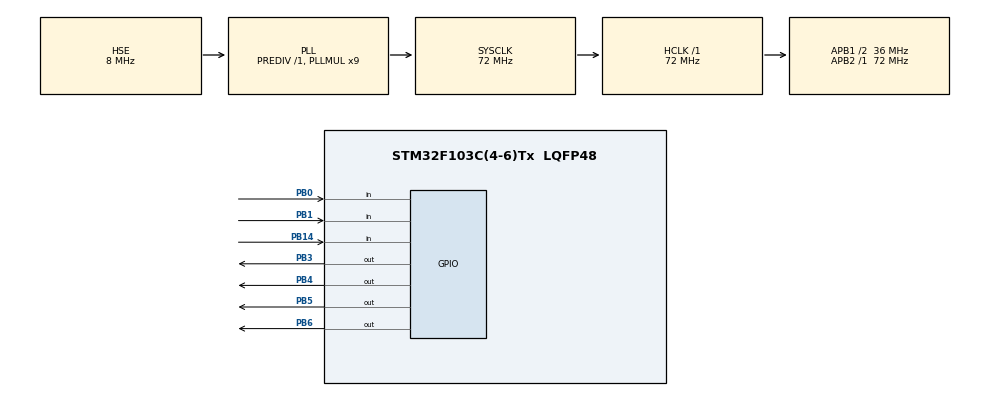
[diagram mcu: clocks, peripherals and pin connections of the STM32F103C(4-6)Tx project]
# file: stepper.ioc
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Mcu.Family=STM32F1
Mcu.Name=STM32F103C(4-6)Tx
Mcu.Package=LQFP48
NVIC.PriorityGroup=NVIC_PRIORITYGROUP_4
PA13.Mode=Serial_Wire
PA13.Signal=SYS_JTMS-SWDIO
PA14.Mode=Serial_Wire
PA14.Signal=SYS_JTCK-SWCLK
PB0.GPIO_PuPd=GPIO_PULLUP
PB0.Signal=GPIO_Input
PB1.GPIO_PuPd=GPIO_PULLUP
PB1.Signal=GPIO_Input
PB14.Signal=GPIO_Input
PB3.Signal=GPIO_Output
PB4.Signal=GPIO_Output
PB5.Signal=GPIO_Output
PB6.Signal=GPIO_Output
PD0-OSC_IN.Mode=HSE-External-Oscillator
PD0-OSC_IN.Signal=RCC_OSC_IN
PD1-OSC_OUT.Mode=HSE-External-Oscillator
PD1-OSC_OUT.Signal=RCC_OSC_OUT
ProjectManager.HeapSize=0x200
ProjectManager.StackSize=0x400
ProjectManager.TargetToolchain=STM32CubeIDE
RCC.AHBFreq_Value=72000000
RCC.APB1CLKDivider=RCC_HCLK_DIV2
RCC.APB1Freq_Value=36000000
RCC.APB1TimFreq_Value=72000000
RCC.APB2Freq_Value=72000000
RCC.APB2TimFreq_Value=72000000
RCC.HCLKFreq_Value=72000000
RCC.PLLMUL=RCC_PLL_MUL9
RCC.PLLSourceVirtual=RCC_PLLSOURCE_HSE
RCC.SYSCLKFreq_VALUE=72000000
RCC.SYSCLKSource=RCC_SYSCLKSOURCE_PLLCLK
RCC.USBFreq_Value=72000000
TIM1.Period=65535
TIM1.Prescaler=72
VP_TIM1_VS_ClockSourceINT.Mode=Internal
board=custom

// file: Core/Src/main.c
/* USER CODE BEGIN Header */
/**
  ******************************************************************************
  * @file           : main.c
  * @brief          : Main program body
  ******************************************************************************
  * @attention
  *
  * Copyright (c) 2022 STMicroelectronics.
  * All rights reserved.
  *
  * This software is licensed under terms that can be found in the LICENSE file
  * in the root directory of this software component.
  * If no LICENSE file comes with this software, it is provided AS-IS.
  *
  ******************************************************************************
  */
/* USER CODE END Header */
#include "main.h"

/* USER CODE BEGIN Includes */
#include "dwt_stm32_delay.h"
/* USER CODE END Includes */

TIM_HandleTypeDef htim1;

void SystemClock_Config(void);
static void MX_GPIO_Init(void);
static void MX_TIM1_Init(void);

/* USER CODE BEGIN 0 */
#define IN1_PIN GPIO_PIN_6
#define IN1_PORT GPIOB
#define IN2_PIN GPIO_PIN_5
#define IN2_PORT GPIOB
#define IN3_PIN GPIO_PIN_4
#define IN3_PORT GPIOB
#define IN4_PIN GPIO_PIN_3
#define IN4_PORT GPIOB

char fullDriveTable[4][4] = {{1, 1, 0, 0}, {0, 1, 1, 0}, {0, 0, 1, 1}, {1, 0, 0, 1}};

size_t tableSize = 4;

void stepFullDrive(int steps, uint16_t delay){
	for (int s = 0; s < steps; s++){
		for (int i = 0; i < tableSize; i++){
			HAL_GPIO_WritePin(IN1_PORT, IN1_PIN, fullDriveTable[i][0]);
			HAL_GPIO_WritePin(IN2_PORT, IN2_PIN, fullDriveTable[i][1]);
			HAL_GPIO_WritePin(IN3_PORT, IN3_PIN, fullDriveTable[i][2]);
			HAL_GPIO_WritePin(IN4_PORT, IN4_PIN, fullDriveTable[i][3]);
			DWT_Delay_us(delay);
		}
	}
}

void stepFullDriveReverse(int steps, uint16_t delay){
	for (int s = 0; s < steps; s++){
			for (int i = tableSize - 1; i >= 0; i--){
				HAL_GPIO_WritePin(IN1_PORT, IN1_PIN, fullDriveTable[i][0]);
				HAL_GPIO_WritePin(IN2_PORT, IN2_PIN, fullDriveTable[i][1]);
				HAL_GPIO_WritePin(IN3_PORT, IN3_PIN, fullDriveTable[i][2]);
				HAL_GPIO_WritePin(IN4_PORT, IN4_PIN, fullDriveTable[i][3]);
				DWT_Delay_us(delay);
			}
		}
}

uint8_t count = 0;

uint32_t receiveData(void){
	uint32_t code = 0;

	int timeout = 50000;

	__HAL_TIM_SET_COUNTER(&htim1, 0);

	// waiting for the HIGH signal
	while(!(HAL_GPIO_ReadPin(GPIOB, GPIO_PIN_14)) && __HAL_TIM_GET_COUNTER(&htim1) < timeout);

	__HAL_TIM_SET_COUNTER(&htim1, 0);

	// waiting for the LOW signal
	while(HAL_GPIO_ReadPin(GPIOB, GPIO_PIN_14) && __HAL_TIM_GET_COUNTER(&htim1) < timeout);

	// receiving the data,
	// 562.5us interval -> 0, 1.6ms interval -> 1
	for(int i = 0; i < 32; i++){
		count = 0;
		__HAL_TIM_SET_COUNTER(&htim1, 0);
		// waiting for the HIGH signal
		while(!(HAL_GPIO_ReadPin(GPIOB, GPIO_PIN_14)) && __HAL_TIM_GET_COUNTER(&htim1) < timeout);

		__HAL_TIM_SET_COUNTER(&htim1, 0);
		// count the interval
		while(HAL_GPIO_ReadPin(GPIOB, GPIO_PIN_14) && __HAL_TIM_GET_COUNTER(&htim1) < timeout){
			count++;
			DWT_Delay_us(100);
		}

		// check which bit should be assigned
		if(count > 12){
			// write 1
			code |= (1UL << (31-i));
		} else {
			//write 0
			code &= ~(1UL << (31-i));
		}
	}
	return code;
}

int checkForRepeat(int time){
	DWT_Delay_us(time);

	__HAL_TIM_SET_COUNTER(&htim1, 0);
	while (HAL_GPIO_ReadPin(GPIOB, GPIO_PIN_14)){
		if (__HAL_TIM_GET_COUNTER(&htim1) > time){
			return 0;
		}
	}
	__HAL_TIM_SET_COUNTER(&htim1, 0);
	while (!HAL_GPIO_ReadPin(GPIOB, GPIO_PIN_14)){
		if (__HAL_TIM_GET_COUNTER(&htim1) > 12000){
			return 0;
		}
	}
	__HAL_TIM_SET_COUNTER(&htim1, 0);
	while (HAL_GPIO_ReadPin(GPIOB, GPIO_PIN_14)){
		if (__HAL_TIM_GET_COUNTER(&htim1) > 3000){
			return 0;
		}
	}
	return 1;
}

int convertCode(uint32_t code){
	switch (code){
		case (0xFF30CF):
			return 1;
			break;

		case (0xFF18E7):
			return 2;
			break;

		default :
			return 0;
			break;
	}
}

/* USER CODE END 0 */

int main(void)
{

  /* MCU Configuration--------------------------------------------------------*/

  /* Reset of all peripherals, Initializes the Flash interface and the Systick. */
  HAL_Init();

  /* Configure the system clock */
  SystemClock_Config();

  /* Initialize all configured peripherals */
  MX_GPIO_Init();
  MX_TIM1_Init();
  /* USER CODE BEGIN 2 */

  HAL_TIM_Base_Start(&htim1);
  DWT_Delay_Init();
  /* USER CODE END 2 */

  /* Infinite loop */
  /* USER CODE BEGIN WHILE */
  int buttonCounterClockWise, buttonClockWise;
  uint32_t data;
  int convertedData = 0;
  int shouldRepeat;
  while (1)
  {

	// infra-red control logic
	if (!HAL_GPIO_ReadPin(GPIOB, GPIO_PIN_14)){
		data = receiveData();

		convertedData = convertCode(data);

		if (convertedData == 1){
			shouldRepeat = checkForRepeat(40000);
			while (shouldRepeat){
				stepFullDrive(5, 3000);
				shouldRepeat = checkForRepeat(30000);
			}

			convertedData = 0;
			HAL_Delay(100);
		}
		else if (convertedData == 2){
			shouldRepeat = checkForRepeat(40000);
			while (shouldRepeat){
				stepFullDriveReverse(5, 3000);
				shouldRepeat = checkForRepeat(30000);
			}
			convertedData = 0;
			HAL_Delay(100);
		}
	}

	// button control logic
	buttonCounterClockWise = HAL_GPIO_ReadPin(GPIOB, GPIO_PIN_0);
	buttonClockWise = HAL_GPIO_ReadPin(GPIOB, GPIO_PIN_1);

	while(!buttonCounterClockWise){
	  stepFullDrive(1, 3500);
	  buttonCounterClockWise = HAL_GPIO_ReadPin(GPIOB, GPIO_PIN_0);
	}

	while(!buttonClockWise){
		stepFullDriveReverse(1, 3500);
		buttonClockWise = HAL_GPIO_ReadPin(GPIOB, GPIO_PIN_1);
	}

  }
    /* USER CODE END WHILE */

}

void SystemClock_Config(void)
{
  RCC_OscInitTypeDef RCC_OscInitStruct = {0};
  RCC_ClkInitTypeDef RCC_ClkInitStruct = {0};

  /** Initializes the RCC Oscillators according to the specified parameters
  * in the RCC_OscInitTypeDef structure.
  */
  RCC_OscInitStruct.OscillatorType = RCC_OSCILLATORTYPE_HSE;
  RCC_OscInitStruct.HSEState = RCC_HSE_ON;
  RCC_OscInitStruct.HSEPredivValue = RCC_HSE_PREDIV_DIV1;
  RCC_OscInitStruct.HSIState = RCC_HSI_ON;
  RCC_OscInitStruct.PLL.PLLState = RCC_PLL_ON;
  RCC_OscInitStruct.PLL.PLLSource = RCC_PLLSOURCE_HSE;
  RCC_OscInitStruct.PLL.PLLMUL = RCC_PLL_MUL9;
  if (HAL_RCC_OscConfig(&RCC_OscInitStruct) != HAL_OK)
  {
    Error_Handler();
  }
  /** Initializes the CPU, AHB and APB buses clocks
  */
  RCC_ClkInitStruct.ClockType = RCC_CLOCKTYPE_HCLK|RCC_CLOCKTYPE_SYSCLK
                              |RCC_CLOCKTYPE_PCLK1|RCC_CLOCKTYPE_PCLK2;
  RCC_ClkInitStruct.SYSCLKSource = RCC_SYSCLKSOURCE_PLLCLK;
  RCC_ClkInitStruct.AHBCLKDivider = RCC_SYSCLK_DIV1;
  RCC_ClkInitStruct.APB1CLKDivider = RCC_HCLK_DIV2;
  RCC_ClkInitStruct.APB2CLKDivider = RCC_HCLK_DIV1;

  if (HAL_RCC_ClockConfig(&RCC_ClkInitStruct, FLASH_LATENCY_2) != HAL_OK)
  {
    Error_Handler();
  }
}

static void MX_TIM1_Init(void)
{

  TIM_ClockConfigTypeDef sClockSourceConfig = {0};
  TIM_MasterConfigTypeDef sMasterConfig = {0};

  htim1.Instance = TIM1;
  htim1.Init.Prescaler = 72;
  htim1.Init.CounterMode = TIM_COUNTERMODE_UP;
  htim1.Init.Period = 65535;
  htim1.Init.ClockDivision = TIM_CLOCKDIVISION_DIV1;
  htim1.Init.RepetitionCounter = 0;
  htim1.Init.AutoReloadPreload = TIM_AUTORELOAD_PRELOAD_DISABLE;
  if (HAL_TIM_Base_Init(&htim1) != HAL_OK)
  {
    Error_Handler();
  }
  sClockSourceConfig.ClockSource = TIM_CLOCKSOURCE_INTERNAL;
  if (HAL_TIM_ConfigClockSource(&htim1, &sClockSourceConfig) != HAL_OK)
  {
    Error_Handler();
  }
  sMasterConfig.MasterOutputTrigger = TIM_TRGO_RESET;
  sMasterConfig.MasterSlaveMode = TIM_MASTERSLAVEMODE_DISABLE;
  if (HAL_TIMEx_MasterConfigSynchronization(&htim1, &sMasterConfig) != HAL_OK)
  {
    Error_Handler();
  }

}

static void MX_GPIO_Init(void)
{
  GPIO_InitTypeDef GPIO_InitStruct = {0};

  /* GPIO Ports Clock Enable */
  __HAL_RCC_GPIOD_CLK_ENABLE();
  __HAL_RCC_GPIOB_CLK_ENABLE();
  __HAL_RCC_GPIOA_CLK_ENABLE();

  /*Configure GPIO pin Output Level */
  HAL_GPIO_WritePin(GPIOB, GPIO_PIN_3|GPIO_PIN_4|GPIO_PIN_5|GPIO_PIN_6, GPIO_PIN_RESET);

  /*Configure GPIO pins : PB0 PB1 */
  GPIO_InitStruct.Pin = GPIO_PIN_0|GPIO_PIN_1;
  GPIO_InitStruct.Mode = GPIO_MODE_INPUT;
  GPIO_InitStruct.Pull = GPIO_PULLUP;
  HAL_GPIO_Init(GPIOB, &GPIO_InitStruct);

  /*Configure GPIO pin : PB14 */
  GPIO_InitStruct.Pin = GPIO_PIN_14;
  GPIO_InitStruct.Mode = GPIO_MODE_INPUT;
  GPIO_InitStruct.Pull = GPIO_NOPULL;
  HAL_GPIO_Init(GPIOB, &GPIO_InitStruct);

  /*Configure GPIO pins : PB3 PB4 PB5 PB6 */
  GPIO_InitStruct.Pin = GPIO_PIN_3|GPIO_PIN_4|GPIO_PIN_5|GPIO_PIN_6;
  GPIO_InitStruct.Mode = GPIO_MODE_OUTPUT_PP;
  GPIO_InitStruct.Pull = GPIO_NOPULL;
  GPIO_InitStruct.Speed = GPIO_SPEED_FREQ_LOW;
  HAL_GPIO_Init(GPIOB, &GPIO_InitStruct);

}

void Error_Handler(void)
{
  __disable_irq();
  while (1)
  {
  }
}
